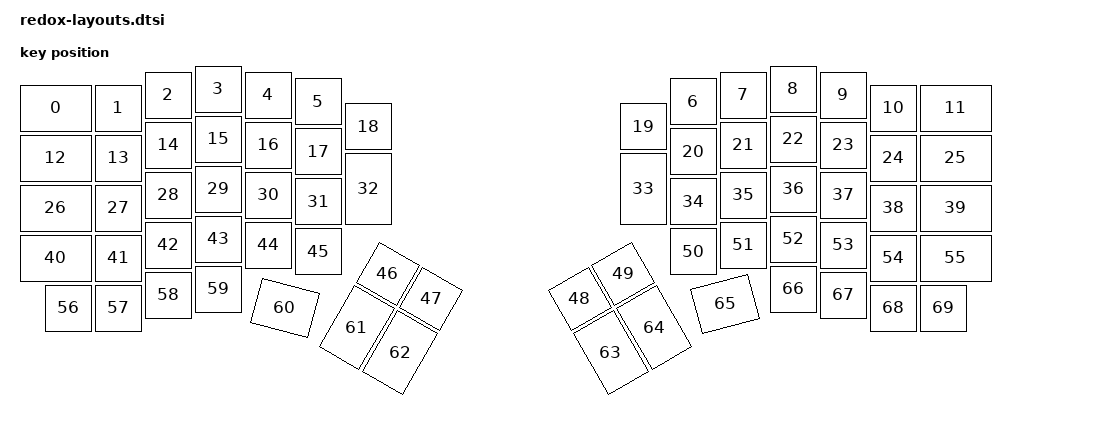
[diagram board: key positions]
#include <physical_layouts.dtsi>

/ {
    physical_layout0: physical_layout_0 {
        compatible = "zmk,physical-layout";
        display-name = "Redox";
        transform = <&default_transform>;
        kscan = <&kscan0>;
        keys  //                     w   h    x    y     rot    rx    ry
            = <&key_physical_attrs 150 100    0   38       0     0     0>
            , <&key_physical_attrs 100 100  150   38       0     0     0>
            , <&key_physical_attrs 100 100  250   12       0     0     0>
            , <&key_physical_attrs 100 100  350    0       0     0     0>
            , <&key_physical_attrs 100 100  450   12       0     0     0>
            , <&key_physical_attrs 100 100  550   25       0     0     0>
            , <&key_physical_attrs 100 100 1300   25       0     0     0>
            , <&key_physical_attrs 100 100 1400   12       0     0     0>
            , <&key_physical_attrs 100 100 1500    0       0     0     0>
            , <&key_physical_attrs 100 100 1600   12       0     0     0>
            , <&key_physical_attrs 100 100 1700   38       0     0     0>
            , <&key_physical_attrs 150 100 1800   38       0     0     0>
            , <&key_physical_attrs 150 100    0  138       0     0     0>
            , <&key_physical_attrs 100 100  150  138       0     0     0>
            , <&key_physical_attrs 100 100  250  112       0     0     0>
            , <&key_physical_attrs 100 100  350  100       0     0     0>
            , <&key_physical_attrs 100 100  450  112       0     0     0>
            , <&key_physical_attrs 100 100  550  125       0     0     0>
            , <&key_physical_attrs 100 100  650   75       0     0     0>
            , <&key_physical_attrs 100 100 1200   75       0     0     0>
            , <&key_physical_attrs 100 100 1300  125       0     0     0>
            , <&key_physical_attrs 100 100 1400  112       0     0     0>
            , <&key_physical_attrs 100 100 1500  100       0     0     0>
            , <&key_physical_attrs 100 100 1600  112       0     0     0>
            , <&key_physical_attrs 100 100 1700  138       0     0     0>
            , <&key_physical_attrs 150 100 1800  138       0     0     0>
            , <&key_physical_attrs 150 100    0  238       0     0     0>
            , <&key_physical_attrs 100 100  150  238       0     0     0>
            , <&key_physical_attrs 100 100  250  212       0     0     0>
            , <&key_physical_attrs 100 100  350  200       0     0     0>
            , <&key_physical_attrs 100 100  450  212       0     0     0>
            , <&key_physical_attrs 100 100  550  225       0     0     0>
            , <&key_physical_attrs 100 150  650  175       0     0     0>
            , <&key_physical_attrs 100 150 1200  175       0     0     0>
            , <&key_physical_attrs 100 100 1300  225       0     0     0>
            , <&key_physical_attrs 100 100 1400  212       0     0     0>
            , <&key_physical_attrs 100 100 1500  200       0     0     0>
            , <&key_physical_attrs 100 100 1600  212       0     0     0>
            , <&key_physical_attrs 100 100 1700  238       0     0     0>
            , <&key_physical_attrs 150 100 1800  238       0     0     0>
            , <&key_physical_attrs 150 100    0  338       0     0     0>
            , <&key_physical_attrs 100 100  150  338       0     0     0>
            , <&key_physical_attrs 100 100  250  312       0     0     0>
            , <&key_physical_attrs 100 100  350  300       0     0     0>
            , <&key_physical_attrs 100 100  450  312       0     0     0>
            , <&key_physical_attrs 100 100  550  325       0     0     0>
            , <&key_physical_attrs 100 100  675  325    3000   650   425>
            , <&key_physical_attrs 100 100  775  325    3000   650   425>
            , <&key_physical_attrs 100 100 1075  325 (-3000)  1300   425>
            , <&key_physical_attrs 100 100 1175  325 (-3000)  1300   425>
            , <&key_physical_attrs 100 100 1300  325       0     0     0>
            , <&key_physical_attrs 100 100 1400  312       0     0     0>
            , <&key_physical_attrs 100 100 1500  300       0     0     0>
            , <&key_physical_attrs 100 100 1600  312       0     0     0>
            , <&key_physical_attrs 100 100 1700  338       0     0     0>
            , <&key_physical_attrs 150 100 1800  338       0     0     0>
            , <&key_physical_attrs 100 100   50  438       0     0     0>
            , <&key_physical_attrs 100 100  150  438       0     0     0>
            , <&key_physical_attrs 100 100  250  412       0     0     0>
            , <&key_physical_attrs 100 100  350  400       0     0     0>
            , <&key_physical_attrs 125 100  488  440    1500   550   425>
            , <&key_physical_attrs 100 150  675  425    3000   650   425>
            , <&key_physical_attrs 100 150  775  425    3000   650   425>
            , <&key_physical_attrs 100 150 1075  425 (-3000)  1300   425>
            , <&key_physical_attrs 100 150 1175  425 (-3000)  1300   425>
            , <&key_physical_attrs 125 100 1338  425 (-1500)  1425   425>
            , <&key_physical_attrs 100 100 1500  400       0     0     0>
            , <&key_physical_attrs 100 100 1600  412       0     0     0>
            , <&key_physical_attrs 100 100 1700  438       0     0     0>
            , <&key_physical_attrs 100 100 1800  438       0     0     0>
            ;
    };
};
